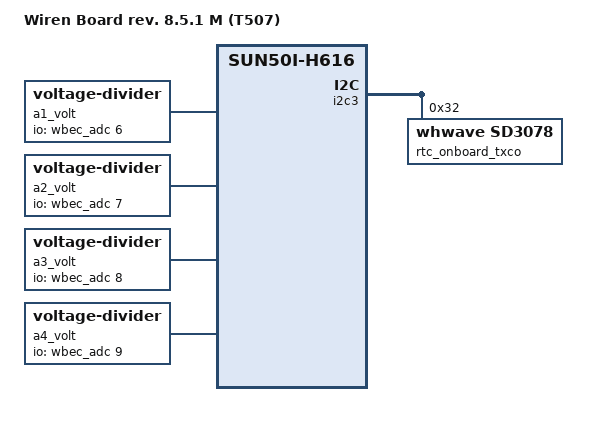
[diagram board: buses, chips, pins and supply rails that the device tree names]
/dts-v1/;
#include "sun50i-h616-wirenboard85x.dtsi"

/ {
	model = "Wiren Board rev. 8.5.1 M (T507)";
	compatible = "wirenboard,wirenboard-851m", "wirenboard,wirenboard-85xm", "wirenboard,wirenboard-85x", "wirenboard,wirenboard-8xx", "allwinner,sun50i-h616";

	a1_volt: a1-volt {
		compatible = "voltage-divider";
		io-channels = <&wbec_adc 6>;
		#io-channel-cells = <1>;

		output-ohms = <10000>;
		full-ohms = <110000>;
		status = "okay";
	};

	a2_volt: a2-volt {
		compatible = "voltage-divider";
		io-channels = <&wbec_adc 7>;
		#io-channel-cells = <1>;

		output-ohms = <10000>;
		full-ohms = <110000>;
	};

	a3_volt: a3-volt {
		compatible = "voltage-divider";
		io-channels = <&wbec_adc 8>;
		#io-channel-cells = <1>;

		output-ohms = <10000>;
		full-ohms = <110000>;
	};

	a4_volt: a4-volt {
		compatible = "voltage-divider";
		io-channels = <&wbec_adc 9>;
		#io-channel-cells = <1>;

		output-ohms = <10000>;
		full-ohms = <110000>;
	};
};

/*
 * Metall-body WB:
 * - no WBIO
 * - enable addtitonal rtc "whwave,sd3078" on WBIO bus (instead of crypto-chip bus; check crypto-chip errata for reasons)
 * - additional rtc is a default one
 */

&i2c3 {
	rtc_onboard_txco: rtc@32 {
		compatible = "whwave,sd3078";
		reg = <0x32>;
	};
};

&aliases {
	rtc0 = &rtc_onboard_txco;
	rtc1 = &rtc;
	rtc2 = &rtc_onboard;
};
